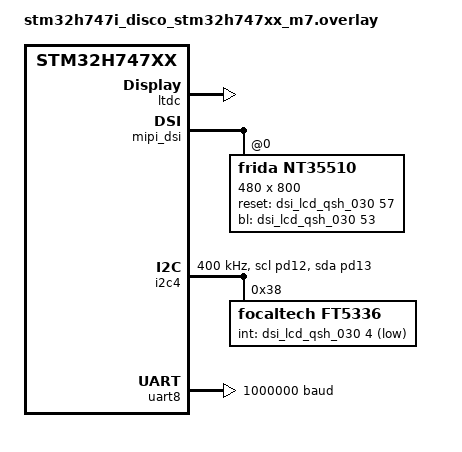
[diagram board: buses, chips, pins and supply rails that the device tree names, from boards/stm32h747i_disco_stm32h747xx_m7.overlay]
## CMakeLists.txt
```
cmake_minimum_required(VERSION 3.20.0)
find_package(Zephyr REQUIRED HINTS $ENV{ZEPHYR_BASE})

project(head_unit)

target_sources(app PRIVATE
  src/main.cpp
  src/awa_dial.cpp
  src/wind_state.c
  src/wind_chan.c
)

# native_sim: wind values typed on the shell instead (no radio).
target_sources_ifdef(CONFIG_BOARD_NATIVE_SIM app PRIVATE src/wind_shell.c)

# The BLE link to the sensor, on boards with a Bluetooth controller.
target_sources_ifdef(CONFIG_BT app PRIVATE
  src/wind_link.c
  src/ess_wind.c
)

# UI assets (gui.xml, fonts) live on the SD card, as in Antmicro's grvl
# demo: build an ext2 image from romfs/ next to zephyr.elf.
if(CONFIG_SDCARD_IMAGE)
  find_program(MKE2FS NAMES mke2fs mkfs.ext2 REQUIRED)
  find_program(TRUNCATE NAMES truncate REQUIRED)

  set(SDCARD_GENSCRIPT ${CMAKE_CURRENT_SOURCE_DIR}/scripts/sdcard.sh)
  set(SDCARD_IMG_NAME zephyr.sdcard.img)
  set(SDCARD_IMG_FILE ${APPLICATION_BINARY_DIR}/zephyr/${SDCARD_IMG_NAME})

  file(GLOB_RECURSE ROMFS_FILES CONFIGURE_DEPENDS
       "${CMAKE_CURRENT_SOURCE_DIR}/romfs/*")

  add_custom_command(
    OUTPUT ${SDCARD_IMG_FILE}
    COMMAND ${SDCARD_GENSCRIPT} ${CONFIG_SDCARD_IMAGE_SIZE}
            ${CMAKE_CURRENT_SOURCE_DIR}/romfs ${APPLICATION_BINARY_DIR}
    DEPENDS ${SDCARD_GENSCRIPT} ${ROMFS_FILES}
    COMMENT "Generating SD card image ${SDCARD_IMG_NAME}")

  add_custom_target(sdcard DEPENDS ${SDCARD_IMG_FILE})

  add_dependencies(app sdcard)
endif()
```

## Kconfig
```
source "Kconfig.zephyr"

menu "Application Options"

config HEAD_UNIT_SENSOR_ADDR
	string "Remembered wind sensor address"
	default "C0:FF:EE:00:00:01"
	help
	  Bluetooth address (static random) of the one wind sensor head_unit
	  connects to; every other sensor is ignored. Set at build time this
	  cycle; an on-screen pairing list comes later.

module = APP
module-str = App
source "subsys/logging/Kconfig.template.log_config"

config SDCARD_IMAGE
	bool "Generate SD card image"
	help
	  Generate an sdcard image with ext2 filesystem using contents of romfs

if SDCARD_IMAGE

config SDCARD_IMAGE_SIZE
	int "Image size"
	default 8
	help
	  Defines generated sdcard image size (in MB)

endif # SDCARD_IMAGE

endmenu # Application Options
```

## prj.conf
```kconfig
# grvl (from Antmicro's calendar demo; malloc arena lives in SDRAM via the
# change-memory-region-used-by-malloc patch)
CONFIG_COMMON_LIBC_MALLOC=y
# 8 MB: grvl allocates its framebuffers here; three 32-bit 800x480 frames
# (4.6 MB) do not fit the demo's 3.7 MB, and grvl does not check for NULL.
CONFIG_COMMON_LIBC_MALLOC_ARENA_SIZE=8388608
CONFIG_POSIX_THREADS=y
CONFIG_POSIX_FILE_SYSTEM=y
CONFIG_INPUT=y
CONFIG_INPUT_QUEUE_MAX_MSGS=128
CONFIG_DISPLAY=y

CONFIG_CPP_RTTI=y
CONFIG_STD_CPP23=y
CONFIG_REQUIRES_FULL_LIBCPP=y

# Received wind values reach the UI over zbus (see src/wind_chan.h).
CONFIG_ZBUS=y
CONFIG_ZBUS_MSG_SUBSCRIBER=y

CONFIG_LOG=y
CONFIG_CONSOLE=y
# Immediate: lines reach the console when they happen. Deferred lines
# arrived 2-4 s late in Renode (the busy UI thread starves the log
# thread), which broke the tests' timing checks.
CONFIG_LOG_MODE_IMMEDIATE=y
# Plain log lines: the Renode tests match whole lines.
CONFIG_LOG_BACKEND_SHOW_COLOR=n
```

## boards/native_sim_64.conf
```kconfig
# Quick UI loop on the PC: no radio, so wind values are typed on the shell
# in the terminal that started zephyr.exe (`wind aws 514`, src/wind_shell.c).
CONFIG_SHELL=y
CONFIG_SHELL_VT100_COLORS=n
CONFIG_UART_NATIVE_PTY_0_ON_STDINOUT=y
```

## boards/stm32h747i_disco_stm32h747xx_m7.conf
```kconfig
CONFIG_POSIX_API=y
CONFIG_POSIX_DEVICE_IO=y
CONFIG_POSIX_FD_MGMT=y
CONFIG_ZVFS_OPEN_MAX=16
CONFIG_SDCARD_IMAGE=y
CONFIG_FILE_SYSTEM_EXT2=y
CONFIG_DISK_ACCESS=y
CONFIG_MEMC=y
# 32-bit framebuffer: the spike's RGB565 build rendered with missing
# glyph fragments in Renode; the working prebuilt used 32-bit.
CONFIG_STM32_LTDC_ARGB8888=y
CONFIG_DISPLAY_LOG_LEVEL_WRN=y
CONFIG_DISPLAY_NT35510_INIT_PRIORITY=87
# Software rendering: Renode's DMA2D model garbles glyphs in RGB565 and
# throws on ARGB8888 transfers. Revisit on real hardware.
CONFIG_GRVL_USE_STM32_DMA2D=n

# BLE link to the wind sensor through an nRF52840 controller over HCI-UART.
CONFIG_BT=y
CONFIG_BT_CENTRAL=y
CONFIG_BT_GATT_CLIENT=y
CONFIG_BT_GATT_AUTO_DISCOVER_CCC=y
```

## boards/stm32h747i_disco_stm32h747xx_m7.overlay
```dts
#include <zephyr/dt-bindings/display/panel.h>
#include <zephyr/dt-bindings/gpio/gpio.h>
#include <zephyr/dt-bindings/i2c/i2c.h>
#include <zephyr/dt-bindings/memory-attr/memory-attr-arm.h>
#include <zephyr/dt-bindings/mipi_dsi/mipi_dsi.h>

/ {
	chosen {
		zephyr,display = &ltdc;
		zephyr,touch = &ft5336;
	};
};

&sdram2 {
	/* Frame buffer memory cache will cause screen flickering. */
	zephyr,memory-attr = <( DT_MEM_ARM(ATTR_MPU_RAM_NOCACHE) )>;
};

&ltdc {
	status = "okay";
	ext-sdram = <&sdram2>;
	width = <800>;
	height = <480>;
	def-back-color-red = <0>;
	def-back-color-green = <0>;
	def-back-color-blue = <0>;
	pixel-format = <PANEL_PIXEL_FORMAT_RGB_888>;

	/* frida, nt35510 */
	display-timings {
		compatible = "zephyr,panel-timing";
		hsync-active = <0>;
		vsync-active = <0>;
		de-active = <0>;
		pixelclk-active = <0>;
		hsync-len = <2>;
		vsync-len = <120>;
		hback-porch = <34>;
		vback-porch = <150>;
		hfront-porch = <34>;
		vfront-porch = <150>;
	};
};

/* ltdc uses pll3_r as pixel clock */
&pll3 {
	status = "okay";
	clocks = <&clk_hse>;
	div-m = <5>;
	mul-n = <132>;
	div-p = <2>;
	div-q = <2>;
	div-r = <24>; /* 27.5 MHz */
};

&mipi_dsi {
	status = "okay";

	/* DSI HOST dedicated PLL
	 * F_VCO = CLK_IN / pll-idf * 2 * pll-ndiv
	 * PHI = F_VCO / 2 / (1 << pll-odf) = lane_byte_clk
	 *     = 25 MHz / 5 * 2 * 100 / 2 / (1<<0) / 8 = 62.5 MHz
	 */
	pll-ndiv = <100>;
	pll-idf = <5>;
	pll-odf = <0>;

	vs-active-high;
	hs-active-high;
	de-active-high;

	loosely-packed;
	largest-packet-size = <64>;
	bta-ack-disable;

	nt35510: nt35510@0 {
		status = "okay";
		compatible = "frida,nt35510";
		reg = <0x0>;
		height = <800>;
		width = <480>;
		reset-gpios = <&dsi_lcd_qsh_030 57 GPIO_ACTIVE_HIGH>;
		bl-gpios = <&dsi_lcd_qsh_030 53 GPIO_ACTIVE_HIGH>;
		data-lanes = <2>;
		pixel-format = <MIPI_DSI_PIXFMT_RGB888>;
		rotation = <90>;
	};
};

&i2c4 {
	pinctrl-0 = <&i2c4_scl_pd12 &i2c4_sda_pd13>;
	pinctrl-names = "default";
	clock-frequency = <I2C_BITRATE_FAST>;
	status = "okay";

	ft5336: ft5336@38 {
		compatible = "focaltech,ft5336";
		reg = <0x38>;
		int-gpios = <&dsi_lcd_qsh_030 4 GPIO_ACTIVE_LOW>;
		inverted-y;
		screen-width = <800>;
		screen-height = <480>;
	};
};

/* BLE controller (nRF52840 running hci_uart) on UART8, H:4. */
/ {
	chosen {
		zephyr,bt-hci = &bt_hci_uart;
	};
};

&uart8 {
	status = "okay";
	current-speed = <1000000>;

	bt_hci_uart: bt_hci_uart {
		compatible = "zephyr,bt-hci-uart";
		status = "okay";
	};
};
```

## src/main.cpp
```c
/*
 * head_unit: wind page. Draws the latest wind view on the display; the
 * UI assets (gui.xml, fonts) are read from the SD card.
 */
#include <cstdlib>
#include <cstring>
#include <filesystem>

#include <zephyr/device.h>
#include <zephyr/devicetree.h>
#include <zephyr/kernel.h>
#include <zephyr/logging/log.h>
#include <zephyr/sys/util.h>

#include <grvl/platform/ZephyrApp.h>

#include <grvl/grvl.h>
#include <grvl/Manager.h>
#include <grvl/component/Label.h>
#include <grvl/container/CustomView.h>

#include "awa_dial.h"
#include "wind_chan.h"

LOG_MODULE_REGISTER(wind_ui, CONFIG_APP_LOG_LEVEL);

namespace fs = std::filesystem;

static constexpr auto UI_THREAD_STACK_SIZE = KB(10);
static constexpr auto UI_THREAD_PRIORITY = 1;
static constexpr auto FRAME_PERIOD_MS = 100;

/* Label ids in gui.xml, indexed by enum wind_field. */
static const char *const field_label_ids[WIND_FIELD_COUNT] = {
	[WIND_AWS] = "aws",
	[WIND_AWA] = "awa",
	[WIND_TWS] = "tws",
	[WIND_TWD] = "twd",
};

K_TIMER_DEFINE(frame_timer, nullptr, nullptr);

static struct wind_state wind;

/*
 * Where the UI assets come from, as in Antmicro's grvl demo: the SD card on
 * the board, the host's romfs/ directory under native_sim.
 */
#if defined(CONFIG_BOARD_STM32H747I_DISCO)
#include <zephyr/fs/ext2.h>
#include <zephyr/fs/fs.h>

static constexpr auto ROMFS_PATH = "/romfs";

static int mount_romfs()
{
	/* Must outlive the mount. */
	static struct fs_mount_t mount;

	mount.type = FS_EXT2;
	mount.mnt_point = ROMFS_PATH;
	mount.storage_dev = (void *)"SD";
	mount.flags = FS_MOUNT_FLAG_NO_FORMAT | FS_MOUNT_FLAG_READ_ONLY;

	int rc = fs_mount(&mount);

	if (rc) {
		LOG_ERR("Failed to mount SD card (err: %d)", rc);
	}
	return rc;
}

static fs::path romfs_path()
{
	return fs::path(ROMFS_PATH);
}
#endif

#if defined(CONFIG_BOARD_NATIVE_SIM)
static int mount_romfs()
{
	return 0;
}

/* $ROMFS_PATH, or romfs/ in the current directory. */
static fs::path romfs_path()
{
	const char *env = std::getenv("ROMFS_PATH");

	return fs::absolute(env ? fs::path(env) : fs::path("romfs"));
}
#endif

static void load_fonts(const fs::path &romfs, grvl::Manager &manager)
{
	auto font = [&](const char *path) {
		return new grvl::GrvlBakedFont((romfs / path).string().c_str());
	};
	auto mona12 = font("fonts/mona12.gbf");

	manager.AddFontToFontContainer("normal", mona12);
	manager.AddFontToFontContainer("mona12", mona12);
	manager.AddFontToFontContainer("mona16", font("fonts/mona16.gbf"));
}

static void show(grvl::AbstractView &page, AwaDial &dial, const struct wind_view &view)
{
	dial.Show(view.awa_dial);
	for (int i = 0; i < WIND_FIELD_COUNT; i++) {
		auto label = static_cast<grvl::Label *>(page.GetElement(field_label_ids[i]));

		label->SetText(view.field[i].text);
	}
	page.GetElement("sensorLost")->SetVisible(view.sensor_lost);
}

/* Logged after a changed view is handed to the display; Renode tests read it. */
static void log_if_changed(const struct wind_view &view)
{
	static char shown[64];
	char line[sizeof(shown)];

	wind_view_log_line(&view, line, sizeof(line));
	if (strcmp(line, shown) != 0) {
		strcpy(shown, line);
		LOG_INF("%s", line);
	}
}

static void ui_thread(void *, void *, void *)
{
	const device *display = DEVICE_DT_GET(DT_CHOSEN(zephyr_display));

	wind_state_init(&wind);

	if (mount_romfs()) {
		return;
	}

	grvl::ZephyrApp app{display};
	grvl::Application::Init(&app);

	auto &manager = grvl::Manager::GetInstance();
	const fs::path romfs = romfs_path();

	load_fonts(romfs, manager);
	manager.BuildFromXML((romfs / "gui.xml").string().c_str());
	manager.InitializationFinished();
	manager.SetActiveScreen("wind", 0);

	auto &page = *manager.GetActiveScreen();
	/* Bottom right, clear of the values and the sensor-lost label. */
	auto *dial = new AwaDial(600, 310, 160);

	static_cast<grvl::CustomView &>(page).AddElement(dial);

	while (true) {
		k_timer_start(&frame_timer, K_MSEC(FRAME_PERIOD_MS), K_NO_WAIT);

		wind_chan_drain(&wind);

		const struct wind_view view = wind_state_view(&wind, k_uptime_get());

		show(page, *dial, view);
		app.Render();
		app.Swap();
		log_if_changed(view);
		app.Poll();

		k_timer_status_sync(&frame_timer);
	}
}

K_THREAD_DEFINE(ui_tid, UI_THREAD_STACK_SIZE, ui_thread, nullptr, nullptr, nullptr,
		UI_THREAD_PRIORITY, 0, 0);
```

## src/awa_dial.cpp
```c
#include "awa_dial.h"

#include <cmath>

static constexpr uint32_t RING_COLOR = 0xFF9EA2A6;
static constexpr uint32_t NEEDLE_COLOR = 0xFFFFFFFF;
static constexpr float PI = 3.14159265f;

void AwaDial::Draw(grvl::Painter &painter, int32_t parent_x, int32_t parent_y)
{
	if (!Visible) {
		return;
	}

	const int16_t cx = parent_x + X + Width / 2;
	const int16_t cy = parent_y + Y + Height / 2;
	const int16_t radius = Width / 2 - 2;

	/* grvl's circles take the top-left corner of their bounding box. */
	painter.DrawCircle(cx - radius, cy - radius, radius, RING_COLOR);
	/* Bow mark at the top. */
	painter.DrawLine(cx, cy - radius, cx, cy - radius + radius / 6, RING_COLOR);

	if (!dial.valid) {
		return;
	}

	/* Clockwise from the bow (up), as the sensor reports it. */
	const float rad = dial.deg * PI / 180.0f;
	const int16_t tip_x = cx + static_cast<int16_t>(std::sin(rad) * (radius - 6));
	const int16_t tip_y = cy - static_cast<int16_t>(std::cos(rad) * (radius - 6));

	painter.DrawAntialiasedLine(cx, cy, tip_x, tip_y, NEEDLE_COLOR);
	painter.FillCircle(cx - 3, cy - 3, 3, NEEDLE_COLOR);
}
```

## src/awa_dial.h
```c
/*
 * The apparent wind dial: a ring with the bow at the top and a needle
 * pointing where the apparent wind comes from, clockwise from the bow.
 * No needle when there is no apparent wind to show.
 */
#ifndef HEAD_UNIT_AWA_DIAL_H_
#define HEAD_UNIT_AWA_DIAL_H_

#include <grvl/component/Canvas.h>

#include "wind_state.h"

class AwaDial : public grvl::Canvas {
public:
	AwaDial(int32_t x, int32_t y, int32_t size) : grvl::Canvas{x, y, size, size} {}

	void Show(const struct wind_dial_view &dial) { this->dial = dial; }

	void Draw(grvl::Painter &painter, int32_t parent_x, int32_t parent_y) override;

private:
	struct wind_dial_view dial {};
};

#endif /* HEAD_UNIT_AWA_DIAL_H_ */
```

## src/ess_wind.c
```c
#include "ess_wind.h"

#include <errno.h>

int ess_wind_decode(uint16_t uuid, const uint8_t *data, size_t len, enum wind_field *field,
		    uint16_t *raw)
{
	switch (uuid) {
	case ESS_UUID_APPARENT_WIND_SPEED:
		*field = WIND_AWS;
		break;
	case ESS_UUID_APPARENT_WIND_DIRECTION:
		*field = WIND_AWA;
		break;
	case ESS_UUID_TRUE_WIND_SPEED:
		*field = WIND_TWS;
		break;
	case ESS_UUID_TRUE_WIND_DIRECTION:
		*field = WIND_TWD;
		break;
	default:
		return -ENOENT;
	}

	/* Never read past a short payload. */
	if (len != sizeof(uint16_t)) {
		return -EMSGSIZE;
	}

	*raw = (uint16_t)(data[0] | (data[1] << 8));
	return 0;
}
```

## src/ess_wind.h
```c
/*
 * Environmental Sensing wind characteristics -> wind fields. The pure part
 * of the BLE link: no Zephyr or Bluetooth dependencies, so it is
 * unit-tested on native_sim.
 */
#ifndef HEAD_UNIT_ESS_WIND_H_
#define HEAD_UNIT_ESS_WIND_H_

#include <stddef.h>
#include <stdint.h>

#include "wind_state.h"

#ifdef __cplusplus
extern "C" {
#endif

/* 16-bit UUIDs of the four wind characteristics (Bluetooth SIG). */
#define ESS_UUID_TRUE_WIND_SPEED         0x2A70
#define ESS_UUID_TRUE_WIND_DIRECTION     0x2A71
#define ESS_UUID_APPARENT_WIND_SPEED     0x2A72
#define ESS_UUID_APPARENT_WIND_DIRECTION 0x2A73

/*
 * Decodes one notification: a uint16, little-endian. Returns 0 and sets
 * *field and *raw; -ENOENT if uuid is not a wind characteristic (ignore
 * it); -EMSGSIZE if the payload is not exactly 2 bytes (malformed).
 */
int ess_wind_decode(uint16_t uuid, const uint8_t *data, size_t len, enum wind_field *field,
		    uint16_t *raw);

#ifdef __cplusplus
}
#endif

#endif /* HEAD_UNIT_ESS_WIND_H_ */
```

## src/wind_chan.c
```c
#include "wind_chan.h"

#include <zephyr/kernel.h>
#include <zephyr/logging/log.h>

LOG_MODULE_REGISTER(wind_chan, CONFIG_APP_LOG_LEVEL);

ZBUS_CHAN_DEFINE(wind_chan, struct wind_msg, NULL, NULL, ZBUS_OBSERVERS_EMPTY,
		 ZBUS_MSG_INIT(0));

/* Every value in order, not just the latest: a sensor sends four in a row. */
ZBUS_MSG_SUBSCRIBER_DEFINE(wind_ui_sub);
ZBUS_CHAN_ADD_OBS(wind_chan, wind_ui_sub, 3);

void wind_chan_drain(struct wind_state *state)
{
	const struct zbus_channel *chan;
	struct wind_msg msg;

	while (zbus_sub_wait_msg(&wind_ui_sub, &chan, &msg, K_NO_WAIT) == 0) {
		int rc = wind_state_update(state, msg.field, msg.raw, k_uptime_get());

		if (rc) {
			LOG_ERR("Dropped wind value for field %d (err: %d)", msg.field, rc);
		}
	}
}
```

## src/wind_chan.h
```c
/*
 * Received wind values travel from the BLE link to the wind page over the
 * wind_chan zbus channel, so the link's callbacks never touch UI state.
 */
#ifndef HEAD_UNIT_WIND_CHAN_H_
#define HEAD_UNIT_WIND_CHAN_H_

#include <stdint.h>

#include <zephyr/zbus/zbus.h>

#include "wind_state.h"

#ifdef __cplusplus
extern "C" {
#endif

/* One value as the sensor sent it, in ESS units. */
struct wind_msg {
	enum wind_field field;
	uint16_t raw;
};

ZBUS_CHAN_DECLARE(wind_chan);

/* Applies every value published since the last call to the wind state. */
void wind_chan_drain(struct wind_state *state);

#ifdef __cplusplus
}
#endif

#endif /* HEAD_UNIT_WIND_CHAN_H_ */
```

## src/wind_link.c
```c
/*
 * BLE link to the remembered wind sensor: scan for its address only,
 * connect, subscribe to its four Environmental Sensing wind
 * characteristics and publish each notified value on wind_chan.
 */
#include <zephyr/bluetooth/bluetooth.h>
#include <zephyr/bluetooth/conn.h>
#include <zephyr/bluetooth/gatt.h>
#include <zephyr/bluetooth/uuid.h>
#include <zephyr/kernel.h>
#include <zephyr/logging/log.h>
#include <zephyr/sys/util.h>

#include "ess_wind.h"
#include "wind_chan.h"

LOG_MODULE_REGISTER(wind_link, CONFIG_APP_LOG_LEVEL);

static const uint16_t wind_uuids[] = {
	ESS_UUID_APPARENT_WIND_SPEED,
	ESS_UUID_APPARENT_WIND_DIRECTION,
	ESS_UUID_TRUE_WIND_SPEED,
	ESS_UUID_TRUE_WIND_DIRECTION,
};

/* One subscription per wind characteristic, in wind_uuids order. */
static struct wind_sub {
	uint16_t uuid;
	struct bt_gatt_subscribe_params params;
	struct bt_gatt_discover_params ccc_disc;
} subs[ARRAY_SIZE(wind_uuids)];

static bt_addr_le_t sensor_addr;
static struct bt_conn *sensor;
static struct bt_gatt_discover_params chrc_disc;

static void start_scan(void);

static uint8_t on_notify(struct bt_conn *conn, struct bt_gatt_subscribe_params *params,
			 const void *data, uint16_t length)
{
	struct wind_sub *sub = CONTAINER_OF(params, struct wind_sub, params);
	struct wind_msg msg;

	if (data == NULL) {
		return BT_GATT_ITER_STOP;
	}

	int rc = ess_wind_decode(sub->uuid, data, length, &msg.field, &msg.raw);

	if (rc) {
		LOG_ERR("Bad notification from 0x%04X (%u bytes, err %d)", sub->uuid, length, rc);
		return BT_GATT_ITER_CONTINUE;
	}

	rc = zbus_chan_pub(&wind_chan, &msg, K_MSEC(10));
	if (rc) {
		LOG_ERR("Wind value dropped (err %d)", rc);
	}
	return BT_GATT_ITER_CONTINUE;
}

static void subscribe_from(struct bt_conn *conn, size_t first);

static void on_subscribed(struct bt_conn *conn, uint8_t err,
			  struct bt_gatt_subscribe_params *params)
{
	struct wind_sub *sub = CONTAINER_OF(params, struct wind_sub, params);

	if (err) {
		LOG_ERR("Subscribe to 0x%04X refused (err 0x%02x)", sub->uuid, err);
	}
	subscribe_from(conn, (sub - subs) + 1);
}

/*
 * One at a time: each subscription first discovers its CCC, and four
 * concurrent requests exhaust the ATT request buffers.
 */
static void subscribe_from(struct bt_conn *conn, size_t first)
{
	for (size_t i = first; i < ARRAY_SIZE(subs); i++) {
		struct wind_sub *sub = &subs[i];

		if (sub->params.value_handle == 0) {
			LOG_ERR("Sensor has no characteristic 0x%04X", sub->uuid);
			continue;
		}

		sub->params.notify = on_notify;
		sub->params.subscribe = on_subscribed;
		sub->params.value = BT_GATT_CCC_NOTIFY;
		sub->params.ccc_handle = BT_GATT_AUTO_DISCOVER_CCC_HANDLE;
		sub->params.end_handle = BT_ATT_LAST_ATTRIBUTE_HANDLE;
		sub->params.disc_params = &sub->ccc_disc;

		int rc = bt_gatt_subscribe(conn, &sub->params);

		if (rc == 0) {
			return;
		}
		LOG_ERR("Subscribe to 0x%04X failed (err %d)", sub->uuid, rc);
	}
	LOG_INF("subscribed to sensor");
}

static uint8_t on_characteristic(struct bt_conn *conn, const struct bt_gatt_attr *attr,
				 struct bt_gatt_discover_params *params)
{
	if (attr == NULL) {
		subscribe_from(conn, 0);
		return BT_GATT_ITER_STOP;
	}

	const struct bt_gatt_chrc *chrc = attr->user_data;

	if (chrc->uuid->type != BT_UUID_TYPE_16) {
		return BT_GATT_ITER_CONTINUE;
	}

	uint16_t uuid = BT_UUID_16(chrc->uuid)->val;

	for (size_t i = 0; i < ARRAY_SIZE(subs); i++) {
		if (subs[i].uuid == uuid) {
			subs[i].params.value_handle = chrc->value_handle;
		}
	}
	return BT_GATT_ITER_CONTINUE;
}

static void connected(struct bt_conn *conn, uint8_t err)
{
	if (conn != sensor) {
		return;
	}
	if (err) {
		LOG_WRN("Connecting to sensor failed (err 0x%02x)", err);
		bt_conn_unref(sensor);
		sensor = NULL;
		start_scan();
		return;
	}

	LOG_INF("connected to sensor");
	for (size_t i = 0; i < ARRAY_SIZE(subs); i++) {
		subs[i].uuid = wind_uuids[i];
		subs[i].params.value_handle = 0;
	}

	chrc_disc.uuid = NULL;
	chrc_disc.func = on_characteristic;
	chrc_disc.start_handle = BT_ATT_FIRST_ATTRIBUTE_HANDLE;
	chrc_disc.end_handle = BT_ATT_LAST_ATTRIBUTE_HANDLE;
	chrc_disc.type = BT_GATT_DISCOVER_CHARACTERISTIC;

	int rc = bt_gatt_discover(conn, &chrc_disc);

	if (rc) {
		LOG_ERR("Discovery failed (err %d)", rc);
	}
}

static void disconnected(struct bt_conn *conn, uint8_t reason)
{
	if (conn != sensor) {
		return;
	}
	LOG_WRN("sensor disconnected (reason 0x%02x)", reason);
	bt_conn_unref(sensor);
	sensor = NULL;
	start_scan();
}

BT_CONN_CB_DEFINE(wind_link_callbacks) = {
	.connected = connected,
	.disconnected = disconnected,
};

/* Only the remembered sensor: every other advertiser is ignored. */
static void on_advertiser(const bt_addr_le_t *addr, int8_t rssi, uint8_t type,
			  struct net_buf_simple *ad)
{
	if (sensor || !bt_addr_le_eq(addr, &sensor_addr)) {
		return;
	}

	int rc = bt_le_scan_stop();

	if (rc == 0) {
		rc = bt_conn_le_create(addr, BT_CONN_LE_CREATE_CONN, BT_LE_CONN_PARAM_DEFAULT,
				       &sensor);
	}
	if (rc) {
		LOG_ERR("Connecting to sensor failed (err %d)", rc);
		start_scan();
	}
}

static void start_scan(void)
{
	int rc = bt_le_scan_start(BT_LE_SCAN_PASSIVE, on_advertiser);

	if (rc) {
		LOG_ERR("Scanning failed (err %d)", rc);
	}
}

static void wind_link_run(void *, void *, void *)
{
	int rc = bt_addr_le_from_str(CONFIG_HEAD_UNIT_SENSOR_ADDR, "random", &sensor_addr);

	if (rc) {
		LOG_ERR("Sensor address %s not usable (err %d)", CONFIG_HEAD_UNIT_SENSOR_ADDR, rc);
		return;
	}

	rc = bt_enable(NULL);
	if (rc) {
		LOG_ERR("Bluetooth init failed (err %d)", rc);
		return;
	}

	LOG_INF("looking for sensor %s", CONFIG_HEAD_UNIT_SENSOR_ADDR);
	start_scan();
}

K_THREAD_DEFINE(wind_link_tid, KB(2), wind_link_run, NULL, NULL, NULL, 5, 0, 0);
```

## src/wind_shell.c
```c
/*
 * native_sim only: wind values typed on the shell instead of received
 * from a sensor, for working on the wind page without a radio. Same
 * syntax and units as the sensor simulator:
 *   wind <aws|awa|tws|twd> <raw>   (0.01 m/s, 0.01 deg)
 * Values go onto wind_chan, the path the BLE link uses.
 */
#include <stdlib.h>
#include <string.h>

#include <zephyr/kernel.h>
#include <zephyr/shell/shell.h>

#include "wind_chan.h"

static const char *const field_names[WIND_FIELD_COUNT] = {
	[WIND_AWS] = "aws",
	[WIND_AWA] = "awa",
	[WIND_TWS] = "tws",
	[WIND_TWD] = "twd",
};

static int cmd_wind(const struct shell *sh, size_t argc, char **argv)
{
	char *end;
	unsigned long raw = strtoul(argv[2], &end, 10);

	if (*end != '\0' || raw > UINT16_MAX) {
		shell_error(sh, "raw value must be 0-65535");
		return -EINVAL;
	}

	for (int i = 0; i < WIND_FIELD_COUNT; i++) {
		if (strcmp(argv[1], field_names[i]) == 0) {
			struct wind_msg msg = { .field = i, .raw = raw };

			return zbus_chan_pub(&wind_chan, &msg, K_MSEC(100));
		}
	}

	shell_error(sh, "field must be aws, awa, tws or twd");
	return -EINVAL;
}

SHELL_CMD_ARG_REGISTER(wind, NULL, "wind <aws|awa|tws|twd> <raw>: show a value (0.01 m/s, 0.01 deg)",
		       cmd_wind, 3, 0);
```

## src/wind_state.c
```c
#include "wind_state.h"

#include <errno.h>
#include <stdio.h>
#include <string.h>

void wind_state_init(struct wind_state *state)
{
	memset(state, 0, sizeof(*state));
}

int wind_state_update(struct wind_state *state, enum wind_field field, uint16_t raw,
		      int64_t now_ms)
{
	(void)now_ms;

	if ((unsigned int)field >= WIND_FIELD_COUNT) {
		return -EINVAL;
	}
	/* Directions are 0-359.99 deg; anything else is bad sensor data. */
	if ((field == WIND_AWA || field == WIND_TWD) && raw >= 36000) {
		return -EINVAL;
	}

	state->raw[field] = raw;
	state->received[field] = true;
	return 0;
}

/* 0.01 m/s -> knots, to 0.1 kn: 1 m/s = 1.943844 kn. */
static void format_speed(char *text, size_t len, uint16_t raw)
{
	uint32_t tenths = ((uint64_t)raw * 1943844 + 5000000) / 10000000;

	snprintf(text, len, "%u.%u", tenths / 10, tenths % 10);
}

/* 0.01 deg -> whole degrees 0-359; 359.5 and up wraps to 0. */
static unsigned int round_deg(uint16_t raw)
{
	return ((raw + 50) / 100) % 360;
}

/* 0.01 deg relative to the bow -> 0-180 with the side the wind comes from. */
static void format_apparent_angle(char *text, size_t len, uint16_t raw)
{
	unsigned int deg = round_deg(raw);

	if (deg == 0 || deg == 180) {
		snprintf(text, len, "%u", deg);
	} else if (deg < 180) {
		snprintf(text, len, "%uS", deg);
	} else {
		snprintf(text, len, "%uP", 360 - deg);
	}
}

/* 0.01 deg compass bearing -> three-digit 000-359. */
static void format_bearing(char *text, size_t len, uint16_t raw)
{
	snprintf(text, len, "%03u", round_deg(raw));
}

struct wind_view wind_state_view(const struct wind_state *state, int64_t now_ms)
{
	struct wind_view view = { .sensor_lost = true };

	(void)now_ms;

	for (int i = 0; i < WIND_FIELD_COUNT; i++) {
		struct wind_field_view *field = &view.field[i];

		field->valid = state->received[i];
		if (!field->valid) {
			strcpy(field->text, "--");
			continue;
		}

		view.sensor_lost = false;
		switch (i) {
		case WIND_AWS:
		case WIND_TWS:
			format_speed(field->text, sizeof(field->text), state->raw[i]);
			break;
		case WIND_AWA:
			format_apparent_angle(field->text, sizeof(field->text), state->raw[i]);
			view.awa_dial.valid = true;
			view.awa_dial.deg = round_deg(state->raw[i]);
			break;
		case WIND_TWD:
			format_bearing(field->text, sizeof(field->text), state->raw[i]);
			break;
		}
	}

	return view;
}

/* Knots only after a speed that has a value: "10.0kn", but "--". */
static const char *speed_unit(const struct wind_field_view *field)
{
	return field->valid ? "kn" : "";
}

void wind_view_log_line(const struct wind_view *view, char *buf, size_t len)
{
	snprintf(buf, len, "AWS=%s%s AWA=%s TWS=%s%s TWD=%s LOST=%d",
		 view->field[WIND_AWS].text, speed_unit(&view->field[WIND_AWS]),
		 view->field[WIND_AWA].text,
		 view->field[WIND_TWS].text, speed_unit(&view->field[WIND_TWS]),
		 view->field[WIND_TWD].text, view->sensor_lost ? 1 : 0);
}
```

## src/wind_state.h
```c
/*
 * Latest wind values from the remembered sensor and what the wind page
 * should show for them. No Zephyr, grvl or Bluetooth dependencies, so it
 * is unit-tested on native_sim.
 */
#ifndef HEAD_UNIT_WIND_STATE_H_
#define HEAD_UNIT_WIND_STATE_H_

#include <stdbool.h>
#include <stddef.h>
#include <stdint.h>

#ifdef __cplusplus
extern "C" {
#endif

enum wind_field {
	WIND_AWS,	/* apparent wind speed */
	WIND_AWA,	/* apparent wind angle */
	WIND_TWS,	/* true wind speed */
	WIND_TWD,	/* true wind direction */
	WIND_FIELD_COUNT,
};

struct wind_field_view {
	bool valid;
	char text[8];
};

/* Apparent wind for the dial: degrees clockwise from the bow, 0-359. */
struct wind_dial_view {
	bool valid;
	uint16_t deg;
};

struct wind_view {
	struct wind_field_view field[WIND_FIELD_COUNT];
	struct wind_dial_view awa_dial;
	bool sensor_lost;
};

struct wind_state {
	/* Latest value per field, in ESS units; valid once received. */
	uint16_t raw[WIND_FIELD_COUNT];
	bool received[WIND_FIELD_COUNT];
};

void wind_state_init(struct wind_state *state);

/*
 * A value received from the sensor, in ESS units: 0.01 m/s for speeds,
 * 0.01 deg for angles (0-359.99). Returns 0, or -EINVAL for an unknown
 * field or an angle out of range.
 */
int wind_state_update(struct wind_state *state, enum wind_field field, uint16_t raw,
		      int64_t now_ms);

struct wind_view wind_state_view(const struct wind_state *state, int64_t now_ms);

/* The wind page's redraw log line for a view, without the log prefix. */
void wind_view_log_line(const struct wind_view *view, char *buf, size_t len);

#ifdef __cplusplus
}
#endif

#endif /* HEAD_UNIT_WIND_STATE_H_ */
```
